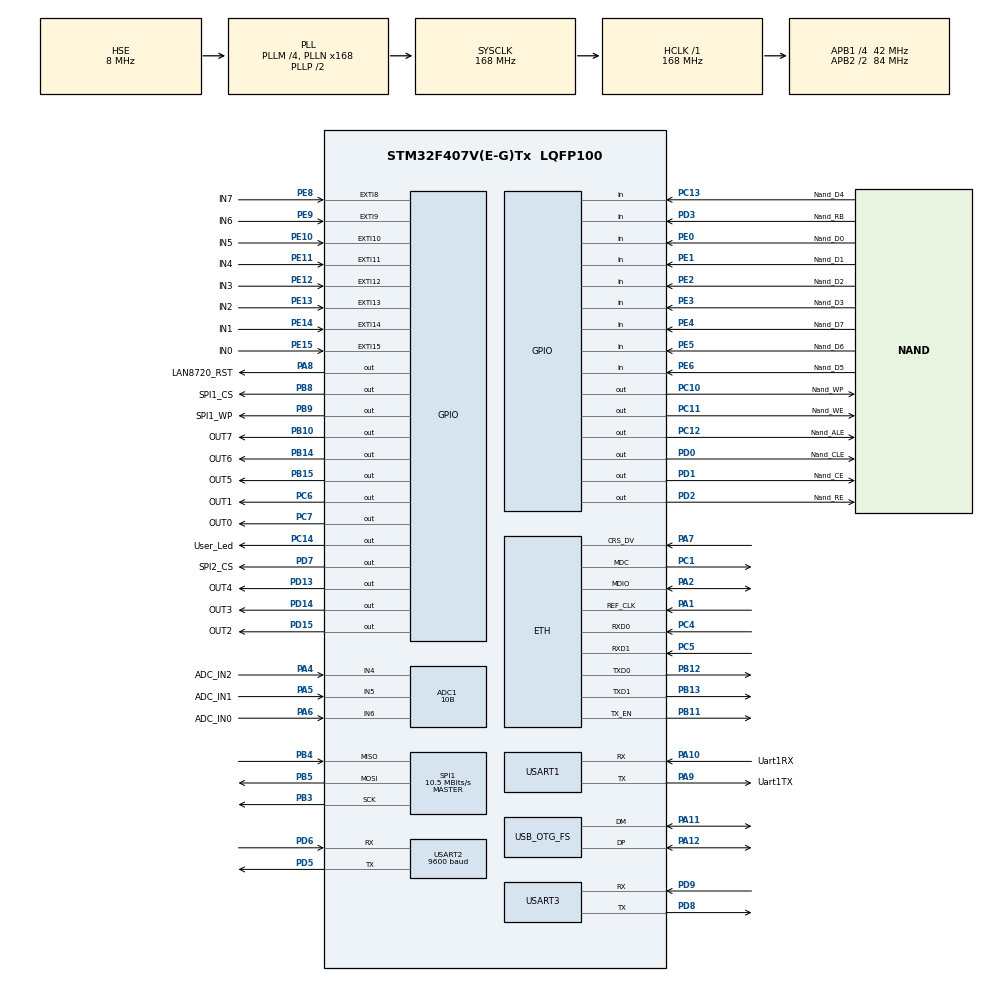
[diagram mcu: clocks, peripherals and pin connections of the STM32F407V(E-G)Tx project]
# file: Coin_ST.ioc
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ADC1.Channel-0\#ChannelRegularConversion=ADC_CHANNEL_6
ADC1.Channel-1\#ChannelRegularConversion=ADC_CHANNEL_5
ADC1.Channel-2\#ChannelRegularConversion=ADC_CHANNEL_4
ADC1.ClockPrescaler=ADC_CLOCK_SYNC_PCLK_DIV4
ADC1.ContinuousConvMode=DISABLE
ADC1.DMAContinuousRequests=ENABLE
ADC1.DataAlign=ADC_DATAALIGN_RIGHT
ADC1.DiscontinuousConvMode=DISABLE
ADC1.EOCSelection=ADC_EOC_SEQ_CONV
ADC1.EnableAnalogWatchDog=false
ADC1.ExternalTrigConv=ADC_EXTERNALTRIGCONV_T3_TRGO
ADC1.ExternalTrigConvEdge=ADC_EXTERNALTRIGCONVEDGE_RISING
ADC1.InjNumberOfConversion=0
ADC1.NbrOfConversion=3
ADC1.NbrOfConversionFlag=1
ADC1.Rank-0\#ChannelRegularConversion=1
ADC1.Rank-1\#ChannelRegularConversion=2
ADC1.Rank-2\#ChannelRegularConversion=3
ADC1.Resolution=ADC_RESOLUTION_10B
ADC1.SamplingTime-0\#ChannelRegularConversion=ADC_SAMPLETIME_3CYCLES
ADC1.SamplingTime-1\#ChannelRegularConversion=ADC_SAMPLETIME_3CYCLES
ADC1.SamplingTime-2\#ChannelRegularConversion=ADC_SAMPLETIME_3CYCLES
ADC1.ScanConvMode=ENABLE
ADC1.master=1
Dma.ADC1.3.Direction=DMA_PERIPH_TO_MEMORY
Dma.ADC1.3.FIFOMode=DMA_FIFOMODE_DISABLE
Dma.ADC1.3.Instance=DMA2_Stream0
Dma.ADC1.3.MemDataAlignment=DMA_MDATAALIGN_WORD
Dma.ADC1.3.MemInc=DMA_MINC_ENABLE
Dma.ADC1.3.Mode=DMA_CIRCULAR
Dma.ADC1.3.PeriphDataAlignment=DMA_PDATAALIGN_WORD
Dma.ADC1.3.PeriphInc=DMA_PINC_DISABLE
Dma.ADC1.3.Priority=DMA_PRIORITY_HIGH
Dma.Request0=USART3_RX
Dma.Request1=USART3_TX
Dma.Request2=USART1_TX
Dma.Request3=ADC1
Dma.Request4=USART1_RX
Dma.USART1_RX.4.Direction=DMA_PERIPH_TO_MEMORY
Dma.USART1_RX.4.FIFOMode=DMA_FIFOMODE_DISABLE
Dma.USART1_RX.4.Instance=DMA2_Stream2
Dma.USART1_RX.4.MemDataAlignment=DMA_MDATAALIGN_BYTE
Dma.USART1_RX.4.MemInc=DMA_MINC_ENABLE
Dma.USART1_RX.4.Mode=DMA_NORMAL
Dma.USART1_RX.4.PeriphDataAlignment=DMA_PDATAALIGN_BYTE
Dma.USART1_RX.4.PeriphInc=DMA_PINC_DISABLE
Dma.USART1_RX.4.Priority=DMA_PRIORITY_LOW
Dma.USART1_TX.2.Direction=DMA_MEMORY_TO_PERIPH
Dma.USART1_TX.2.FIFOMode=DMA_FIFOMODE_DISABLE
Dma.USART1_TX.2.Instance=DMA2_Stream7
Dma.USART1_TX.2.MemDataAlignment=DMA_MDATAALIGN_BYTE
Dma.USART1_TX.2.MemInc=DMA_MINC_ENABLE
Dma.USART1_TX.2.Mode=DMA_NORMAL
Dma.USART1_TX.2.PeriphDataAlignment=DMA_PDATAALIGN_BYTE
Dma.USART1_TX.2.PeriphInc=DMA_PINC_DISABLE
Dma.USART1_TX.2.Priority=DMA_PRIORITY_LOW
Dma.USART3_RX.0.Direction=DMA_PERIPH_TO_MEMORY
Dma.USART3_RX.0.FIFOMode=DMA_FIFOMODE_DISABLE
Dma.USART3_RX.0.Instance=DMA1_Stream1
Dma.USART3_RX.0.MemDataAlignment=DMA_MDATAALIGN_BYTE
Dma.USART3_RX.0.MemInc=DMA_MINC_ENABLE
Dma.USART3_RX.0.Mode=DMA_NORMAL
Dma.USART3_RX.0.PeriphDataAlignment=DMA_PDATAALIGN_BYTE
Dma.USART3_RX.0.PeriphInc=DMA_PINC_DISABLE
Dma.USART3_RX.0.Priority=DMA_PRIORITY_MEDIUM
Dma.USART3_TX.1.Direction=DMA_MEMORY_TO_PERIPH
Dma.USART3_TX.1.FIFOMode=DMA_FIFOMODE_DISABLE
Dma.USART3_TX.1.Instance=DMA1_Stream3
Dma.USART3_TX.1.MemDataAlignment=DMA_MDATAALIGN_BYTE
Dma.USART3_TX.1.MemInc=DMA_MINC_ENABLE
Dma.USART3_TX.1.Mode=DMA_NORMAL
Dma.USART3_TX.1.PeriphDataAlignment=DMA_PDATAALIGN_BYTE
Dma.USART3_TX.1.PeriphInc=DMA_PINC_DISABLE
Dma.USART3_TX.1.Priority=DMA_PRIORITY_LOW
ETH.MediaInterface=ETH_MEDIA_INTERFACE_RMII
ETH.PHY_DUPLEX_STATUS=0x00010
ETH.PHY_Name_RMII=userPHY
ETH.PHY_SPEED_STATUS=0x4
ETH.PHY_SR=31
ETH.PHY_User_Name=LAN_8720
ETH.PhyAddress=0
FREERTOS.Tasks01=userLedTask,0,256,startUserLed,Default,NULL,Dynamic,NULL,NULL;shellTask,0,256,StartShell,Default,NULL,Dynamic,NULL,NULL;StartTask,-3,256,startTask,Default,NULL,Dynamic,NULL,NULL;TouchScreenTask,-3,256,touchScreenTask,Default,NULL,Dynamic,NULL,NULL
FREERTOS.configGENERATE_RUN_TIME_STATS=1
FREERTOS.configMINIMAL_STACK_SIZE=64
FREERTOS.configUSE_IDLE_HOOK=1
FREERTOS.configUSE_STATS_FORMATTING_FUNCTIONS=1
FREERTOS.configUSE_TICK_HOOK=1
FREERTOS.configUSE_TIMERS=1
FREERTOS.configUSE_TRACE_FACILITY=1
LWIP.GATEWAY_ADDRESS=192.168.001.002
LWIP.IP_ADDRESS=192.168.001.250
LWIP.LWIP_DHCP=0
LWIP.LWIP_HTTPD=0
LWIP.LWIP_NETCONN=0
LWIP.MEMP_NUM_PBUF=10
LWIP.MEMP_NUM_RAW_PCB=10
LWIP.MEMP_NUM_TCP_PCB_LISTEN=5
LWIP.MEMP_NUM_TCP_SEG=18
LWIP.MEM_SIZE=10240
LWIP.NETMASK_ADDRESS=255.255.255.000
LWIP.PBUF_POOL_BUFSIZE=1524
LWIP.TCP_MSS=1460
LWIP.TCP_SND_QUEUELEN=17
LWIP.TCP_WND=5840
LWIP.Version=v2.0.3_Cube
Mcu.Family=STM32F4
Mcu.Name=STM32F407V(E-G)Tx
Mcu.Package=LQFP100
NVIC.DMA1_Stream1_IRQn=true\:5\:0\:false\:false\:true\:true\:false
NVIC.DMA1_Stream3_IRQn=true\:5\:0\:false\:false\:true\:true\:false
NVIC.DMA2_Stream0_IRQn=true\:4\:0\:true\:true\:true\:3\:false\:false
NVIC.DMA2_Stream2_IRQn=true\:5\:0\:false\:false\:true\:true\:false
NVIC.DMA2_Stream7_IRQn=true\:5\:0\:false\:true\:true\:2\:true\:false
NVIC.ETH_IRQn=true\:5\:0\:false\:false\:true\:true\:false
NVIC.EXTI15_10_IRQn=true\:5\:0\:false\:false\:true\:true\:true
NVIC.EXTI9_5_IRQn=true\:5\:0\:false\:false\:true\:true\:true
NVIC.OTG_FS_IRQn=true\:5\:0\:false\:false\:true\:true\:false
NVIC.PriorityGroup=NVIC_PRIORITYGROUP_4
NVIC.TIM8_TRG_COM_TIM14_IRQn=true\:0\:0\:false\:false\:true\:false\:false
NVIC.TIM8_UP_TIM13_IRQn=true\:0\:0\:true\:false\:true\:false\:true
NVIC.TimeBase=TIM8_TRG_COM_TIM14_IRQn
NVIC.TimeBaseIP=TIM14
NVIC.USART1_IRQn=true\:5\:0\:false\:true\:true\:1\:true\:true
NVIC.USART3_IRQn=true\:5\:0\:false\:false\:true\:true\:true
PA1.Mode=RMII
PA1.Signal=ETH_REF_CLK
PA10.GPIO_Label=Uart1RX
PA10.Mode=Asynchronous
PA10.Signal=USART1_RX
PA11.Mode=Device_Only
PA11.Signal=USB_OTG_FS_DM
PA12.Mode=Device_Only
PA12.Signal=USB_OTG_FS_DP
PA2.Mode=RMII
PA2.Signal=ETH_MDIO
PA4.GPIO_Label=ADC_IN2
PA4.Signal=ADCx_IN4
PA5.GPIO_Label=ADC_IN1
PA5.Signal=ADCx_IN5
PA6.GPIO_Label=ADC_IN0
PA6.Signal=ADCx_IN6
PA7.Mode=RMII
PA7.Signal=ETH_CRS_DV
PA8.GPIO_Label=LAN8720_RST
PA8.Signal=GPIO_Output
PA9.GPIO_Label=Uart1TX
PA9.Mode=Asynchronous
PA9.Signal=USART1_TX
PB10.GPIO_Label=OUT7
PB10.PinState=GPIO_PIN_SET
PB10.Signal=GPIO_Output
PB11.Mode=RMII
PB11.Signal=ETH_TX_EN
PB12.Mode=RMII
PB12.Signal=ETH_TXD0
PB13.Mode=RMII
PB13.Signal=ETH_TXD1
PB14.GPIO_Label=OUT6
PB14.PinState=GPIO_PIN_SET
PB14.Signal=GPIO_Output
PB15.GPIO_Label=OUT5
PB15.PinState=GPIO_PIN_SET
PB15.Signal=GPIO_Output
PB3.Mode=Full_Duplex_Master
PB3.Signal=SPI1_SCK
PB4.Mode=Full_Duplex_Master
PB4.Signal=SPI1_MISO
PB5.Mode=Full_Duplex_Master
PB5.Signal=SPI1_MOSI
PB8.GPIO_Label=SPI1_CS
PB8.Signal=GPIO_Output
PB9.GPIO_Label=SPI1_WP
PB9.Signal=GPIO_Output
PC1.Mode=RMII
PC1.Signal=ETH_MDC
PC10.GPIO_Label=Nand_WP
PC10.Signal=GPIO_Output
PC11.GPIO_Label=Nand_WE
PC11.Signal=GPIO_Output
PC12.GPIO_Label=Nand_ALE
PC12.Signal=GPIO_Output
PC13-ANTI_TAMP.GPIO_Label=Nand_D4
PC13-ANTI_TAMP.GPIO_Mode=GPIO_MODE_INPUT
PC13-ANTI_TAMP.GPIO_PuPd=GPIO_PULLUP
PC13-ANTI_TAMP.Signal=GPIO_Input
PC14-OSC32_IN.GPIO_Label=User_Led
PC14-OSC32_IN.Signal=GPIO_Output
PC4.Mode=RMII
PC4.Signal=ETH_RXD0
PC5.Mode=RMII
PC5.Signal=ETH_RXD1
PC6.GPIO_Label=OUT1
PC6.PinState=GPIO_PIN_SET
PC6.Signal=GPIO_Output
PC7.GPIO_Label=OUT0
PC7.PinState=GPIO_PIN_SET
PC7.Signal=GPIO_Output
PD0.GPIO_Label=Nand_CLE
PD0.Signal=GPIO_Output
PD1.GPIO_Label=Nand_CE
PD1.Signal=GPIO_Output
PD13.GPIO_Label=OUT4
PD13.PinState=GPIO_PIN_SET
PD13.Signal=GPIO_Output
PD14.GPIO_Label=OUT3
PD14.PinState=GPIO_PIN_SET
PD14.Signal=GPIO_Output
PD15.GPIO_Label=OUT2
PD15.PinState=GPIO_PIN_SET
PD15.Signal=GPIO_Output
PD2.GPIO_Label=Nand_RE
PD2.Signal=GPIO_Output
PD3.GPIO_Label=Nand_RB
PD3.GPIO_PuPd=GPIO_PULLUP
PD3.Signal=GPIO_Input
PD5.Mode=Asynchronous
PD5.Signal=USART2_TX
PD6.Mode=Asynchronous
PD6.Signal=USART2_RX
PD7.GPIO_Label=SPI2_CS
PD7.Signal=GPIO_Output
PD8.Mode=Asynchronous
PD8.Signal=USART3_TX
PD9.Mode=Asynchronous
PD9.Signal=USART3_RX
PE0.GPIO_Label=Nand_D0
PE0.GPIO_Mode=GPIO_MODE_INPUT
PE0.GPIO_PuPd=GPIO_PULLUP
PE0.Signal=GPIO_Input
PE1.GPIO_Label=Nand_D1
PE1.GPIO_Mode=GPIO_MODE_INPUT
PE1.GPIO_PuPd=GPIO_PULLUP
PE1.Signal=GPIO_Input
PE10.GPIO_Label=IN5
PE10.GPIO_ModeDefaultEXTI=GPIO_MODE_IT_FALLING
PE10.Signal=GPXTI10
PE11.GPIO_Label=IN4
PE11.GPIO_ModeDefaultEXTI=GPIO_MODE_IT_FALLING
PE11.Signal=GPXTI11
PE12.GPIO_Label=IN3
PE12.GPIO_ModeDefaultEXTI=GPIO_MODE_IT_FALLING
PE12.Signal=GPXTI12
PE13.GPIO_Label=IN2
PE13.GPIO_ModeDefaultEXTI=GPIO_MODE_IT_FALLING
PE13.Signal=GPXTI13
PE14.GPIO_Label=IN1
PE14.GPIO_ModeDefaultEXTI=GPIO_MODE_IT_FALLING
PE14.Signal=GPXTI14
PE15.GPIO_Label=IN0
PE15.GPIO_ModeDefaultEXTI=GPIO_MODE_IT_FALLING
PE15.Signal=GPXTI15
PE2.GPIO_Label=Nand_D2
PE2.GPIO_Mode=GPIO_MODE_INPUT
PE2.GPIO_PuPd=GPIO_PULLUP
PE2.Signal=GPIO_Input
PE3.GPIO_Label=Nand_D3
PE3.GPIO_Mode=GPIO_MODE_INPUT
PE3.GPIO_PuPd=GPIO_PULLUP
PE3.Signal=GPIO_Input
PE4.GPIO_Label=Nand_D7
PE4.GPIO_Mode=GPIO_MODE_INPUT
PE4.GPIO_PuPd=GPIO_PULLUP
PE4.Signal=GPIO_Input
PE5.GPIO_Label=Nand_D6
PE5.GPIO_Mode=GPIO_MODE_INPUT
PE5.GPIO_PuPd=GPIO_PULLUP
PE5.Signal=GPIO_Input
PE6.GPIO_Label=Nand_D5
PE6.GPIO_Mode=GPIO_MODE_INPUT
PE6.GPIO_PuPd=GPIO_PULLUP
PE6.Signal=GPIO_Input
PE8.GPIO_Label=IN7
PE8.GPIO_ModeDefaultEXTI=GPIO_MODE_IT_FALLING
PE8.Signal=GPXTI8
PE9.GPIO_Label=IN6
PE9.GPIO_ModeDefaultEXTI=GPIO_MODE_IT_FALLING
PE9.Signal=GPXTI9
PH0-OSC_IN.Mode=HSE-External-Oscillator
PH0-OSC_IN.Signal=RCC_OSC_IN
PH1-OSC_OUT.Mode=HSE-External-Oscillator
PH1-OSC_OUT.Signal=RCC_OSC_OUT
ProjectManager.HeapSize=0x200
ProjectManager.StackSize=0x400
ProjectManager.TargetToolchain=MDK-ARM V5
RCC.48MHZClocksFreq_Value=48000000
RCC.AHBFreq_Value=168000000
RCC.APB1CLKDivider=RCC_HCLK_DIV4
RCC.APB1Freq_Value=42000000
RCC.APB1TimFreq_Value=84000000
RCC.APB2CLKDivider=RCC_HCLK_DIV2
RCC.APB2Freq_Value=84000000
RCC.APB2TimFreq_Value=168000000
RCC.CortexFreq_Value=168000000
RCC.HCLKFreq_Value=168000000
RCC.HSE_VALUE=8000000
RCC.HSI_VALUE=16000000
RCC.LSE_VALUE=32768
RCC.PLLM=4
RCC.PLLN=168
RCC.PLLQ=7
RCC.SYSCLKFreq_VALUE=168000000
RCC.SYSCLKSource=RCC_SYSCLKSOURCE_PLLCLK
RCC.VCOOutputFreq_Value=336000000
SH.ADCx_IN4.0=ADC1_IN4,IN4
SH.ADCx_IN5.0=ADC1_IN5,IN5
SH.ADCx_IN6.0=ADC1_IN6,IN6
SPI1.BaudRatePrescaler=SPI_BAUDRATEPRESCALER_8
SPI1.CRCCalculation=SPI_CRCCALCULATION_DISABLE
SPI1.CalculateBaudRate=10.5 MBits/s
SPI1.Direction=SPI_DIRECTION_2LINES
SPI1.Mode=SPI_MODE_MASTER
SPI1.VirtualType=VM_MASTER
TIM13.Period=50-1
TIM13.Prescaler=84-1
TIM3.Period=100-1
TIM3.Prescaler=84-1
TIM3.TIM_MasterOutputTrigger=TIM_TRGO_UPDATE
USART1.VirtualMode=VM_ASYNC
USART2.BaudRate=9600
USART2.VirtualMode=VM_ASYNC
USART3.VirtualMode=VM_ASYNC
USB_DEVICE.CLASS_NAME_FS=MSC
USB_DEVICE.VirtualMode-MSC_FS=Msc
USB_DEVICE.VirtualModeFS=Msc_FS
USB_OTG_FS.VirtualMode=Device_Only
VP_FREERTOS_VS_ENABLE.Mode=Enabled
VP_LWIP_VS_Enabled.Mode=Enabled
VP_SYS_VS_tim14.Mode=TIM14
VP_TIM13_VS_ClockSourceINT.Mode=Enable_Timer
VP_TIM3_VS_ClockSourceINT.Mode=Internal
VP_USB_DEVICE_VS_USB_DEVICE_MSC_FS.Mode=MSC_FS
board=Coin_ST

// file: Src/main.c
/**
  ******************************************************************************
  * @file           : main.c
  * @brief          : Main program body
  ******************************************************************************
  * This notice applies to any and all portions of this file
  * that are not between comment pairs USER CODE BEGIN and
  * USER CODE END. Other portions of this file, whether
  * inserted by the user or by software development tools
  * are owned by their respective copyright owners.
  *
  * Copyright (c) 2018 STMicroelectronics International N.V.
  * All rights reserved.
  *
  * Redistribution and use in source and binary forms, with or without
  * modification, are permitted, provided that the following conditions are met:
  *
  * 1. Redistribution of source code must retain the above copyright notice,
  *    this list of conditions and the following disclaimer.
  * 2. Redistributions in binary form must reproduce the above copyright notice,
  *    this list of conditions and the following disclaimer in the documentation
  *    and/or other materials provided with the distribution.
  * 3. Neither the name of STMicroelectronics nor the names of other
  *    contributors to this software may be used to endorse or promote products
  *    derived from this software without specific written permission.
  * 4. This software, including modifications and/or derivative works of this
  *    software, must execute solely and exclusively on microcontroller or
  *    microprocessor devices manufactured by or for STMicroelectronics.
  * 5. Redistribution and use of this software other than as permitted under
  *    this license is void and will automatically terminate your rights under
  *    this license.
  *
  * THIS SOFTWARE IS PROVIDED BY STMICROELECTRONICS AND CONTRIBUTORS "AS IS"
  * AND ANY EXPRESS, IMPLIED OR STATUTORY WARRANTIES, INCLUDING, BUT NOT
  * LIMITED TO, THE IMPLIED WARRANTIES OF MERCHANTABILITY, FITNESS FOR A
  * PARTICULAR PURPOSE AND NON-INFRINGEMENT OF THIRD PARTY INTELLECTUAL PROPERTY
  * RIGHTS ARE DISCLAIMED TO THE FULLEST EXTENT PERMITTED BY LAW. IN NO EVENT
  * SHALL STMICROELECTRONICS OR CONTRIBUTORS BE LIABLE FOR ANY DIRECT, INDIRECT,
  * INCIDENTAL, SPECIAL, EXEMPLARY, OR CONSEQUENTIAL DAMAGES (INCLUDING, BUT NOT
  * LIMITED TO, PROCUREMENT OF SUBSTITUTE GOODS OR SERVICES; LOSS OF USE, DATA,
  * OR PROFITS; OR BUSINESS INTERRUPTION) HOWEVER CAUSED AND ON ANY THEORY OF
  * LIABILITY, WHETHER IN CONTRACT, STRICT LIABILITY, OR TORT (INCLUDING
  * NEGLIGENCE OR OTHERWISE) ARISING IN ANY WAY OUT OF THE USE OF THIS SOFTWARE,
  * EVEN IF ADVISED OF THE POSSIBILITY OF SUCH DAMAGE.
  *
  ******************************************************************************
  */
#include "main.h"
#include "stm32f4xx_hal.h"
#include "cmsis_os.h"
#include "adc.h"
#include "dma.h"
#include "lwip.h"
#include "spi.h"
#include "tim.h"
#include "usart.h"
#include "usb_device.h"
#include "gpio.h"

/* USER CODE BEGIN Includes */
#include "user_app.h"
/* USER CODE END Includes */

/* USER CODE BEGIN PV */
/* Private variables ---------------------------------------------------------*/

/* USER CODE END PV */

void SystemClock_Config(void);
void MX_FREERTOS_Init(void);
static void MX_NVIC_Init(void);

/* USER CODE BEGIN PFP */
/* Private function prototypes -----------------------------------------------*/

/* USER CODE END PFP */

/* USER CODE BEGIN 0 */

volatile uint32_t ulHighFrequencyTimerTicks;
void configureTimerForRunTimeStats(void)
{
	ulHighFrequencyTimerTicks = 0;
	HAL_TIM_Base_Start_IT(&htim13);
}

 unsigned long getRunTimeCounterValue(void)
{
	return ulHighFrequencyTimerTicks;
}

void INTX_ENABLE(void)
{
	__ASM volatile("cpsie i");
}

/* USER CODE END 0 */

int main(void)
{
  /* USER CODE BEGIN 1 */
//	uint8_t data_buf[10] = {1, 2, 3, 4, 5, 6, 7, 8, 9, 10};
//	uint32_t i;

	SCB->VTOR = FLASH_BASE | 0x20000; /* Vector Table Relocation in Internal */
  /* USER CODE END 1 */

  /* MCU Configuration----------------------------------------------------------*/

  /* Reset of all peripherals, Initializes the Flash interface and the Systick. */
  HAL_Init();

  /* Configure the system clock */
  SystemClock_Config();

  /* Initialize all configured peripherals */
  MX_GPIO_Init();
  MX_DMA_Init();
  MX_ADC1_Init();
  MX_USART1_UART_Init();
  MX_USART2_UART_Init();
  MX_USART3_UART_Init();
  MX_SPI1_Init();
  MX_TIM3_Init();
  MX_TIM13_Init();

  /* Initialize interrupts */
  MX_NVIC_Init();
  /* USER CODE BEGIN 2 */
	//开启所有中断
	INTX_ENABLE ();
	//coin_init ();
	//MX_LWIP_Init();

	//erase_NAND_BLOK ();
	//write_NAND_PAGE();
	//read_NAND_PAGE ();
//	cy_println ();
//	HAL_GPIO_WritePin(GPIOB, SPI1_WP_Pin, GPIO_PIN_RESET);
//	framWriteEnable ();
//	cy_println ("framReadStatus() = 0x%02x", framReadStatus ());

//	framWriteBytes (0, data_buf, sizeof (data_buf));
//	framReadBytes (0, data_buf, sizeof (data_buf));
//	for (i = 0; i < sizeof (data_buf); i++){
//		cy_println ("framReadOneByte(%d) = 0x%02x", i, data_buf[i]);
//	}
//	cy_println ("framReadStatus() = 0x%02x", framReadStatus ());
//  if (HAL_ADC_Start_IT(&hadc1) != HAL_OK)
//  {
//    /* Start Conversation Error */
//    Error_Handler();
//  }
  /* USER CODE END 2 */

  /* Call init function for freertos objects (in freertos.c) */
  MX_FREERTOS_Init();

  /* Start scheduler */
  osKernelStart();

  /* We should never get here as control is now taken by the scheduler */

  /* Infinite loop */
  while (1)
  {

  }

}

void SystemClock_Config(void)
{

  RCC_OscInitTypeDef RCC_OscInitStruct;
  RCC_ClkInitTypeDef RCC_ClkInitStruct;

    /**Configure the main internal regulator output voltage
    */
  __HAL_RCC_PWR_CLK_ENABLE();

  __HAL_PWR_VOLTAGESCALING_CONFIG(PWR_REGULATOR_VOLTAGE_SCALE1);

    /**Initializes the CPU, AHB and APB busses clocks
    */
  RCC_OscInitStruct.OscillatorType = RCC_OSCILLATORTYPE_HSE;
  RCC_OscInitStruct.HSEState = RCC_HSE_ON;
  RCC_OscInitStruct.PLL.PLLState = RCC_PLL_ON;
  RCC_OscInitStruct.PLL.PLLSource = RCC_PLLSOURCE_HSE;
  RCC_OscInitStruct.PLL.PLLM = 4;
  RCC_OscInitStruct.PLL.PLLN = 168;
  RCC_OscInitStruct.PLL.PLLP = RCC_PLLP_DIV2;
  RCC_OscInitStruct.PLL.PLLQ = 7;
  if (HAL_RCC_OscConfig(&RCC_OscInitStruct) != HAL_OK)
  {
    _Error_Handler(__FILE__, __LINE__);
  }

    /**Initializes the CPU, AHB and APB busses clocks
    */
  RCC_ClkInitStruct.ClockType = RCC_CLOCKTYPE_HCLK|RCC_CLOCKTYPE_SYSCLK
                              |RCC_CLOCKTYPE_PCLK1|RCC_CLOCKTYPE_PCLK2;
  RCC_ClkInitStruct.SYSCLKSource = RCC_SYSCLKSOURCE_PLLCLK;
  RCC_ClkInitStruct.AHBCLKDivider = RCC_SYSCLK_DIV1;
  RCC_ClkInitStruct.APB1CLKDivider = RCC_HCLK_DIV4;
  RCC_ClkInitStruct.APB2CLKDivider = RCC_HCLK_DIV2;

  if (HAL_RCC_ClockConfig(&RCC_ClkInitStruct, FLASH_LATENCY_5) != HAL_OK)
  {
    _Error_Handler(__FILE__, __LINE__);
  }

    /**Configure the Systick interrupt time
    */
  HAL_SYSTICK_Config(HAL_RCC_GetHCLKFreq()/1000);

    /**Configure the Systick
    */
  HAL_SYSTICK_CLKSourceConfig(SYSTICK_CLKSOURCE_HCLK);

  /* SysTick_IRQn interrupt configuration */
  HAL_NVIC_SetPriority(SysTick_IRQn, 15, 0);
}

/**
  * @brief NVIC Configuration.
  * @retval None
  */
static void MX_NVIC_Init(void)
{
  /* USART1_IRQn interrupt configuration */
  HAL_NVIC_SetPriority(USART1_IRQn, 5, 0);
  HAL_NVIC_EnableIRQ(USART1_IRQn);
  /* DMA2_Stream7_IRQn interrupt configuration */
  HAL_NVIC_SetPriority(DMA2_Stream7_IRQn, 5, 0);
  HAL_NVIC_EnableIRQ(DMA2_Stream7_IRQn);
  /* DMA2_Stream0_IRQn interrupt configuration */
  HAL_NVIC_SetPriority(DMA2_Stream0_IRQn, 4, 0);
  HAL_NVIC_EnableIRQ(DMA2_Stream0_IRQn);
}

void HAL_TIM_PeriodElapsedCallback(TIM_HandleTypeDef *htim)
{
  /* USER CODE BEGIN Callback 0 */
	if (htim->Instance == TIM3)
	{
		HAL_GPIO_TogglePin (GPIOC, User_Led_Pin);
	}
	if (htim->Instance == TIM8)
	{
		HAL_GPIO_TogglePin (GPIOC, User_Led_Pin);
	}
  if (htim->Instance == TIM13) {
    ulHighFrequencyTimerTicks++;
  }
  /* USER CODE END Callback 0 */
  if (htim->Instance == TIM14) {
    HAL_IncTick();
  }
  /* USER CODE BEGIN Callback 1 */
	if (htim->Instance == TIM14){
		coin_time_period_1ms ();
	}
  /* USER CODE END Callback 1 */
}

void _Error_Handler(char *file, int line)
{
  while(1)
  {
  }
}

/************************ (C) COPYRIGHT STMicroelectronics *****END OF FILE****/

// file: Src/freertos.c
/**
  ******************************************************************************
  * File Name          : freertos.c
  * Description        : Code for freertos applications
  ******************************************************************************
  * This notice applies to any and all portions of this file
  * that are not between comment pairs USER CODE BEGIN and
  * USER CODE END. Other portions of this file, whether
  * inserted by the user or by software development tools
  * are owned by their respective copyright owners.
  *
  * Copyright (c) 2018 STMicroelectronics International N.V.
  * All rights reserved.
  *
  * Redistribution and use in source and binary forms, with or without
  * modification, are permitted, provided that the following conditions are met:
  *
  * 1. Redistribution of source code must retain the above copyright notice,
  *    this list of conditions and the following disclaimer.
  * 2. Redistributions in binary form must reproduce the above copyright notice,
  *    this list of conditions and the following disclaimer in the documentation
  *    and/or other materials provided with the distribution.
  * 3. Neither the name of STMicroelectronics nor the names of other
  *    contributors to this software may be used to endorse or promote products
  *    derived from this software without specific written permission.
  * 4. This software, including modifications and/or derivative works of this
  *    software, must execute solely and exclusively on microcontroller or
  *    microprocessor devices manufactured by or for STMicroelectronics.
  * 5. Redistribution and use of this software other than as permitted under
  *    this license is void and will automatically terminate your rights under
  *    this license.
  *
  * THIS SOFTWARE IS PROVIDED BY STMICROELECTRONICS AND CONTRIBUTORS "AS IS"
  * AND ANY EXPRESS, IMPLIED OR STATUTORY WARRANTIES, INCLUDING, BUT NOT
  * LIMITED TO, THE IMPLIED WARRANTIES OF MERCHANTABILITY, FITNESS FOR A
  * PARTICULAR PURPOSE AND NON-INFRINGEMENT OF THIRD PARTY INTELLECTUAL PROPERTY
  * RIGHTS ARE DISCLAIMED TO THE FULLEST EXTENT PERMITTED BY LAW. IN NO EVENT
  * SHALL STMICROELECTRONICS OR CONTRIBUTORS BE LIABLE FOR ANY DIRECT, INDIRECT,
  * INCIDENTAL, SPECIAL, EXEMPLARY, OR CONSEQUENTIAL DAMAGES (INCLUDING, BUT NOT
  * LIMITED TO, PROCUREMENT OF SUBSTITUTE GOODS OR SERVICES; LOSS OF USE, DATA,
  * OR PROFITS; OR BUSINESS INTERRUPTION) HOWEVER CAUSED AND ON ANY THEORY OF
  * LIABILITY, WHETHER IN CONTRACT, STRICT LIABILITY, OR TORT (INCLUDING
  * NEGLIGENCE OR OTHERWISE) ARISING IN ANY WAY OUT OF THE USE OF THIS SOFTWARE,
  * EVEN IF ADVISED OF THE POSSIBILITY OF SUCH DAMAGE.
  *
  ******************************************************************************
  */

#include "FreeRTOS.h"
#include "task.h"
#include "cmsis_os.h"

/* USER CODE BEGIN Includes */
#include "stm32f4xx_hal.h"
#include "adc.h"
#include "tim.h"
#include "usart.h"
#include "user_app.h"
#include "cpu_utils.h"
#include "httpd.h"
/* USER CODE END Includes */

osThreadId userLedTaskHandle;
osThreadId shellTaskHandle;
osThreadId StartTaskHandle;
osThreadId TouchScreenTaskHandle;

/* USER CODE BEGIN Variables */
extern uint32_t tim3_v_old, tim3_v_new;
extern uint32_t ADC_Value[3];
uint32_t idl_cnt = 0;
uint8_t aTxMessage[] = "\r\n*** UART-Hyperterminal communication based on DMA ***\r\n";
/* USER CODE END Variables */

void startUserLed(void const * argument);
void StartShell(void const * argument);
void startTask(void const * argument);
void touchScreenTask(void const * argument);

extern void MX_LWIP_Init(void);
extern void MX_USB_DEVICE_Init(void);
void MX_FREERTOS_Init(void); /* (MISRA C 2004 rule 8.1) */

/* Hook prototypes */
void configureTimerForRunTimeStats(void);
unsigned long getRunTimeCounterValue(void);
void vApplicationIdleHook(void);
void vApplicationTickHook(void);

/* USER CODE BEGIN 1 */
extern volatile uint32_t ulHighFrequencyTimerTicks;
/* Functions needed when configGENERATE_RUN_TIME_STATS is on */
__weak void configureTimerForRunTimeStats(void)
{

}

__weak unsigned long getRunTimeCounterValue(void)
{
return 12563;
}
/* USER CODE END 1 */

/* USER CODE BEGIN 2 */
__weak void vApplicationIdleHook( void )
{
   /* vApplicationIdleHook() will only be called if configUSE_IDLE_HOOK is set
   to 1 in FreeRTOSConfig.h. It will be called on each iteration of the idle
   task. It is essential that code added to this hook function never attempts
   to block in any way (for example, call xQueueReceive() with a block time
   specified, or call vTaskDelay()). If the application makes use of the
   vTaskDelete() API function (as this demo application does) then it is also
   important that vApplicationIdleHook() is permitted to return to its calling
   function, because it is the responsibility of the idle task to clean up
   memory allocated by the kernel to any task that has since been deleted. */
	idl_cnt++;
}
/* USER CODE END 2 */

/* USER CODE BEGIN 3 */
__weak void vApplicationTickHook( void )
{
   /* This function will be called by each tick interrupt if
   configUSE_TICK_HOOK is set to 1 in FreeRTOSConfig.h. User code can be
   added here, but the tick hook is called from an interrupt context, so
   code must not attempt to block, and only the interrupt safe FreeRTOS API
   functions can be used (those that end in FromISR()). */
}
/* USER CODE END 3 */

/* Init FreeRTOS */

void MX_FREERTOS_Init(void) {

  /* USER CODE BEGIN RTOS_TIMERS */
  /* start timers, add new ones, ... */
	uint32_t tick = HAL_RCC_GetHCLKFreq ();
	//printf ("%d", tick);
  /* USER CODE END RTOS_TIMERS */

  /* Create the thread(s) */
  /* definition and creation of userLedTask */
  osThreadDef(userLedTask, startUserLed, osPriorityNormal, 0, 256);
  userLedTaskHandle = osThreadCreate(osThread(userLedTask), NULL);

  /* definition and creation of shellTask */
  osThreadDef(shellTask, StartShell, osPriorityNormal, 0, 256);
  shellTaskHandle = osThreadCreate(osThread(shellTask), NULL);

  /* definition and creation of StartTask */
  osThreadDef(StartTask, startTask, osPriorityIdle, 0, 256);
  StartTaskHandle = osThreadCreate(osThread(StartTask), NULL);

  /* definition and creation of TouchScreenTask */
  osThreadDef(TouchScreenTask, touchScreenTask, osPriorityIdle, 0, 256);
  TouchScreenTaskHandle = osThreadCreate(osThread(TouchScreenTask), NULL);

}

/* startUserLed function */
void startUserLed(void const * argument)
{
  /* init code for LWIP */
  MX_LWIP_Init();

  /* init code for USB_DEVICE */
  MX_USB_DEVICE_Init();

  /* USER CODE BEGIN startUserLed */
	osDelay(100);
	//puts("Hello world!\r");
	//fflush (stdout);
	//putchar('B');
	//uint8_t ch = 'A';
  /* Infinite loop */
	httpd_init ();
	extern int16_t ad0_ad_value, ad1_ad_value, ad2_ad_value;
  for(;;)
  {
    osDelay(1000);
//		if (sys_env.workstep == 10){
//			cy_println ("motor_pwm:%d", motor_pwm_count);
//		}
    //获取CPU使用率并串口打印
    //usage = osGetCPUUsage();
//    cy_println("CPU Usage: %d%%",osGetCPUUsage());
//		cy_println("main_task process time: %d - %d = %d us", tim3_v_new , tim3_v_old , (tim3_v_new - tim3_v_old));

		//HAL_GPIO_WritePin (GPIOC, User_Led_Pin, GPIO_PIN_RESET);
		//HAL_GPIO_WritePin (GPIOC, User_Led_Pin, GPIO_PIN_SET);
		//HAL_GPIO_TogglePin (GPIOC, User_Led_Pin);//	putchar('A');
	  //HAL_UART_Transmit(&huart1, (uint8_t *)&ch, 1, 0xFFFF);
  }
  /* USER CODE END startUserLed */
}

/* StartShell function */
void StartShell(void const * argument)
{
  /* USER CODE BEGIN StartShell */
  /* Infinite loop */
//	uint16_t rec_size = 0;
	Usart1Type.RX_flag = 0;
  for(;;)
  {
    osDelay(100);
		if(Usart1Type.RX_flag){    	// Receive flag
			//taskENTER_CRITICAL ();
			//while (Usart1Type.RX_flag);
			//taskEXIT_CRITICAL ();
			Usart1Type.RX_flag = 0;
			fill_rec_buf (Usart1Type.RX_temp);
		}
  }
  /* USER CODE END StartShell */
}

/* startTask function */
void startTask(void const * argument)
{
  /* USER CODE BEGIN startTask */
  HAL_GPIO_WritePin(LAN8720_RST_GPIO_Port, LAN8720_RST_Pin, GPIO_PIN_SET);
  HAL_UART_Transmit_DMA(&huart1, (uint8_t *)aTxMessage, sizeof(aTxMessage));
  __HAL_UART_ENABLE_IT(&huart1, UART_IT_RXNE);

	HAL_UART_Receive_DMA(&huart3, touchScreenDataBuffer, TOUCH_SCREEN_DATA_BUF_LEN);
  __HAL_UART_ENABLE_IT(&huart3, UART_IT_IDLE); //

	HAL_TIM_Base_Start_IT(&htim3);
	HAL_ADC_Start_DMA(&hadc1, (uint32_t*)&ADC_Value, 3);
	coin_init ();
	cy_println ("[Please press ENTER to activate this console]");
	readNandId ();
	HAL_GPIO_WritePin(GPIOC, Nand_WP_Pin, GPIO_PIN_SET);
  /* Infinite loop */
  for(;;)
  {
    osDelay(10);
    normalTask();
  }
  /* USER CODE END startTask */
}

/* touchScreenTask function */
void touchScreenTask(void const * argument)
{
  /* USER CODE BEGIN touchScreenTask */
  /* Infinite loop */
	touchScreenDataFlag = 0;
  for(;;)
  {
    osDelay(100);
		if (touchScreenDataFlag == 1){
			touchresult();//判断触摸 状态的函数
			touchScreenDataFlag =0;
		}
  }
  /* USER CODE END touchScreenTask */
}

/* USER CODE BEGIN Application */
uint8_t pcWriteBuffer[500];
void taskStatus(void )
{
#if 1
	UBaseType_t   ArraySize;
    TaskStatus_t  *StatusArray;
    uint8_t       x;
	uint32_t FreeRTOSRunTimeTicks;

    ArraySize = uxTaskGetNumberOfTasks(); //获取任务个数
    StatusArray = pvPortMalloc(ArraySize*sizeof(TaskStatus_t));
   // while(1)
    {
        if(StatusArray != NULL){ //内存申请成功

            ArraySize = uxTaskGetSystemState( (TaskStatus_t *)  StatusArray,
                                              (UBaseType_t   ) ArraySize,
                                              (uint32_t *    )  &FreeRTOSRunTimeTicks );

            cy_println("        TaskName\tPriority\tTaskNumber\tMinStk\t");
            for(x = 0;x<ArraySize;x++){

                cy_println("%16s\t%d\t\t%d\t\t%d\t%d%%",
                        StatusArray[x].pcTaskName,
                        (int)StatusArray[x].uxCurrentPriority,
                        (int)StatusArray[x].xTaskNumber,
                        (int)StatusArray[x].usStackHighWaterMark,
                        (int)((float)StatusArray[x].ulRunTimeCounter/FreeRTOSRunTimeTicks*100));
            }
            cy_println();
        }
    }
#else
	printf("=================================================\r\n");
	vTaskList((char *)&pcWriteBuffer);
	printf("%s\r\n", pcWriteBuffer);
	printf("-------------------------------------------------\r\n");
	vTaskGetRunTimeStats((char *)&pcWriteBuffer);
	printf("%s\r\n", pcWriteBuffer);
#endif
}
/* USER CODE END Application */

/************************ (C) COPYRIGHT STMicroelectronics *****END OF FILE****/
